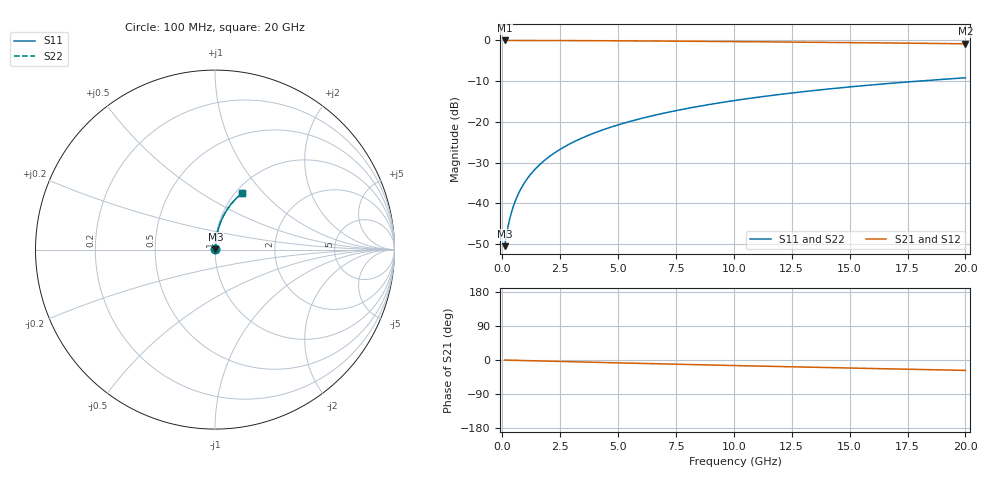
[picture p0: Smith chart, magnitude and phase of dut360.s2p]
! Touchstone file exported from HFSS 2024.1.0
!  File:  C:/UserFiles/LocalFiles/RDL_TSV_Batchsim/temp_RDL_top_360_1779608499.aedt
!  Generated:  03:44:14 PM May 24, 2026
!  Design:  RDL_top
!  Project:  temp_RDL_top_360_1779608499
!  Setup:  Setup1
!  Solution:  Sweep
! Variables:
!  dtsv = 10.80580581um
!  hbump = 3um
!  htsv = 60.59um
!  ldown = 100um
!  lrdl = 311.26um
!  p = 40
!  p1 = 53.12um
!  rhole = 1um
!  t = 450um
!  tdown = 3.915915916um
!  trdl = 4.28um
!  wdown = 15.38538539um
!  wrdl = 11.59um
# GHz S MA R 50.000000
! Terminal data exported
! Port[1] = Box2_T1
! Port[2] = Box2_T2
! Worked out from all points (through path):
!   200 points, 100 MHz to 20 GHz, reference 50 ohm
!   highest |S21| = -0.02 dB at 100 MHz (marker M1); lowest = -0.8 dB at 20 GHz (marker M2)
!   group delay of S21, straight-line fit = 3.8 ps
!   lowest |S11| = -50.5 dB at 100 MHz (marker M3), VSWR 1.01, Z = 50.2 + j0.19 ohm
!   |S11| at or under -10 dB: start of sweep to 17.96 GHz
!   |S22| runs from -50.5 to -9.2 dB; largest |S21 - S12| = 4.3e-15
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0.1  0.00299 39.3  0.9977 -0.2  0.9977 -0.2  0.00299 39.3
! Gamma 0 0 0 0
! Port Impedance 50 0 50 0
0.2  0.004441 57.9  0.9976 -0.3  0.9976 -0.3  0.004439 57.8
0.3  0.006106 66.7  0.9976 -0.5  0.9976 -0.5  0.006102 66.7
0.4  0.007845 71.7  0.9975 -0.6  0.9975 -0.6  0.00784 71.7
0.5  0.009618 74.8  0.9974 -0.8  0.9974 -0.8  0.009614 74.8
0.6  0.01141 76.9  0.9974 -0.9  0.9974 -0.9  0.01141 77.0
0.8  0.01503 79.6  0.9972 -1.2  0.9972 -1.2  0.01503 79.6
1.1  0.0205 81.7  0.9969 -1.7  0.9969 -1.7  0.0205 81.7
1.5  0.02782 83.0  0.9965 -2.3  0.9965 -2.3  0.02782 83.0
1.8  0.03331 83.4  0.9961 -2.8  0.9961 -2.8  0.03332 83.5
2.1  0.03881 83.7  0.9956 -3.2  0.9956 -3.2  0.03881 83.7
2.7  0.0498 83.7  0.9944 -4.1  0.9944 -4.1  0.0498 83.8
3.5  0.06445 83.4  0.9925 -5.3  0.9925 -5.3  0.06445 83.4
4.2  0.07726 82.9  0.9906 -6.4  0.9906 -6.4  0.07727 83.0
5  0.0919 82.3  0.988 -7.6  0.988 -7.6  0.09191 82.3
5.9  0.1083 81.4  0.9847 -8.9  0.9847 -8.9  0.1084 81.4
6.8  0.1247 80.5  0.9812 -10.2  0.9812 -10.2  0.1248 80.5
8.3  0.1519 78.8  0.9746 -12.3  0.9746 -12.3  0.152 78.8
10.1  0.1842 76.6  0.966 -14.8  0.966 -14.8  0.1842 76.7
13.4  0.2417 72.5  0.9484 -19.2  0.9484 -19.2  0.2418 72.6
16.7  0.2963 68.4  0.9291 -23.4  0.9291 -23.4  0.2964 68.5
20  0.3473 64.4  0.9082 -27.4  0.9082 -27.4  0.3475 64.5
